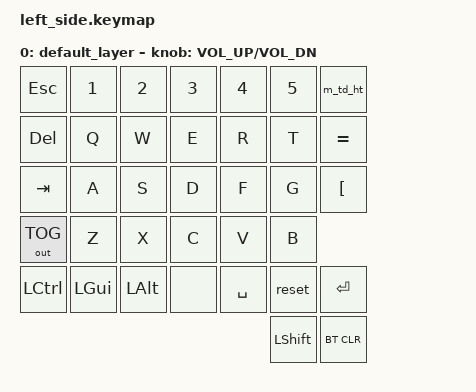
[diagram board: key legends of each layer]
#include <behaviors.dtsi>
#include <dt-bindings/zmk/keys.h>
#include <dt-bindings/zmk/bt.h>
#include <dt-bindings/zmk/outputs.h>

/ {
	sensors {
		compatible = "zmk,keymap-sensors";
		sensors = <&left_encoder>;
	};

    behaviors {
        m_td_ht: media_tap_dance_hold_tap {
            compatible = "zmk,behavior-tap-dance";
            label = "MEDIA_TAP_DANCE_HOLD_TAP";
            #binding-cells = <0>;
            tapping-term-ms = <300>;
            bindings = <&mt C_MUTE C_PP>, <&kp C_NEXT>, <&kp C_PREV>;
        };
    };

    keymap {
        compatible = "zmk,keymap"; 

        default_layer {
            sensor-bindings = <&inc_dec_kp C_VOL_UP C_VOL_DN>;
    
//==================================================================================
// |   ESC   |    1    |    2    |    3    |    4    |    5    |         | medfn
// |   DEL   |    Q    |    W    |    E    |    R    |    T    |   =/+   |
// |   TAB   |    A    |    S    |    D    |    F    |    G    |   [{    |
// |   LA1   |    Z    |    X    |    C    |    V    |    B    |====================
// |  CTRL   |   GUI   |   ALT   |  empty  |  SPACE  |         |  empty  |  ENTER  |
//                                                             |  SHIFT  |   LA1   |
            bindings = <
&kp ESC       &kp N1     &kp N2     &kp N3     &kp N4     &kp N5                &m_td_ht
&kp DEL       &kp Q      &kp W      &kp E      &kp R      &kp T      &kp EQUAL
&kp TAB       &kp A      &kp S      &kp D      &kp F      &kp G      &kp LBKT
&out OUT_TOG  &kp Z      &kp X      &kp C      &kp V      &kp B
&kp LCTRL     &kp LGUI   &kp LALT   &none      &kp SPACE             &reset      &kp RET
                                                                     &kp LSHIFT  &bt BT_CLR
                       >;
        };
    };
};  
